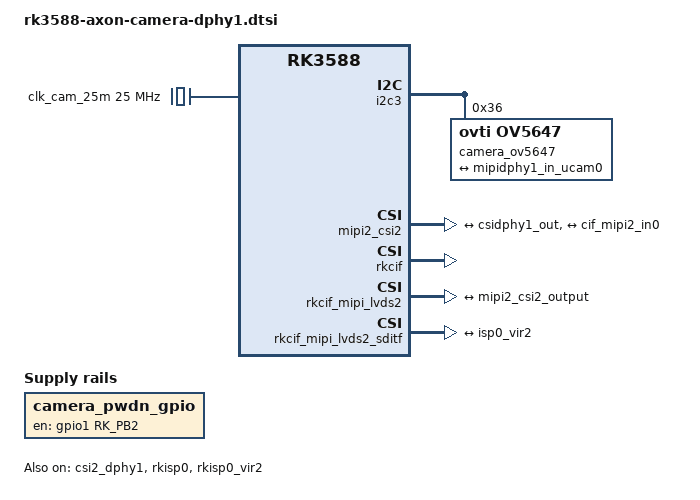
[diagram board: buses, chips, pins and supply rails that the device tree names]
// SPDX-License-Identifier: (GPL-2.0+ OR MIT)
/*
 * Copyright (C) 2023 Vicharak India
 */ 

/{
	compatible = "vicharak,rk3588-axon", "rockchip,rk3588";
	
	camera_pwdn_gpio: camera-pwdn-gpio {
                  status = "okay";
                  compatible = "regulator-fixed";
                  regulator-name = "camera_pwdn_gpio";
                  regulator-always-on;
                  regulator-boot-on;
                  enable-active-high;
                  gpio = <&gpio1 RK_PB2 GPIO_ACTIVE_HIGH>;
                  pinctrl-names = "default";
                  pinctrl-0 = <&cam_pwdn_gpio>;
          };
  
          clk_cam_25m: external-camera-clock-25m {
                  status = "okay";
                  compatible = "fixed-clock";
                  clock-frequency = <25000000>;
                  clock-output-names = "clk_cam_25m";
                  #clock-cells = <0>;
          };

};

&i2c3 {
         status = "okay";
         camera_ov5647: camera-ov5647@36 {
                 status = "okay";
		 compatible = "ovti,ov5647";
		 reg = <0x36>;
 
                 clocks = <&clk_cam_25m>;
                 clock-names = "xvclk";
 
                 rockchip,camera-module-index = <0>;
                 rockchip,camera-module-facing = "back";
                 rockchip,camera-module-name = "ov5647";
                 rockchip,camera-module-lens-name = "default";
 
                 port {
                         ov5647_out0: endpoint {
                                 remote-endpoint = <&mipidphy1_in_ucam0>;
                                 data-lanes = <1 2>;
                         };
                 };
         };
 };

&csi2_dphy1 {
        status = "okay";

        ports {
                #address-cells = <1>;
                #size-cells = <0>;

                port@0 {
                        reg = <0>;
                        #address-cells = <1>;
                        #size-cells = <0>;

                        mipidphy1_in_ucam0: endpoint@1 {
                                reg = <1>;
                                remote-endpoint = <&ov5647_out0>;
                                data-lanes = <1 2>;
                        };

                };

                port@1 {
                        reg = <1>;
                        #address-cells = <1>;
                        #size-cells = <0>;

                        csidphy1_out: endpoint@0 {
                                reg = <0>;
                                remote-endpoint = <&mipi2_csi2_input>;
                        };
                };
        };
};

&mipi2_csi2 {
        status = "okay";

        ports {
                #address-cells = <1>;
                #size-cells = <0>;

                port@0 {
                        reg = <0>;
                        #address-cells = <1>;
                        #size-cells = <0>;

                        mipi2_csi2_input: endpoint@1 {
                                reg = <1>;
                                remote-endpoint = <&csidphy1_out>;
                        };
                };

                port@1 {
                        reg = <1>;
                        #address-cells = <1>;
                        #size-cells = <0>;

                        mipi2_csi2_output: endpoint@0 {
                                reg = <0>;
                                remote-endpoint = <&cif_mipi2_in0>;
                        };
                };
        };
};

&rkcif {
        status = "okay";
};

&rkcif_mipi_lvds2 {
        status = "okay";

        port {
                cif_mipi2_in0: endpoint {
                        remote-endpoint = <&mipi2_csi2_output>;
                };
        };
};

&rkcif_mipi_lvds2_sditf {
        status = "okay";

        port {
                mipi_lvds2_sditf: endpoint {
                        remote-endpoint = <&isp0_vir2>;
                };
        };
};

&rkcif_mmu {
        status = "okay";
};

&rkisp0 {
        status = "okay";
};

&isp0_mmu {
        status = "okay";
};

&rkisp0_vir2 {
        status = "okay";

        port {
                #address-cells = <1>;
                #size-cells = <0>;

                isp0_vir2: endpoint@0 {
                        reg = <0>;
                        remote-endpoint = <&mipi_lvds2_sditf>;
                };
        };
};

&pinctrl {
        camera {
                cam_pwdn_gpio: cam-pwdn-gpio {
                        rockchip,pins = <1 RK_PB2 RK_FUNC_GPIO &pcfg_pull_up>;
                };
        };
};

